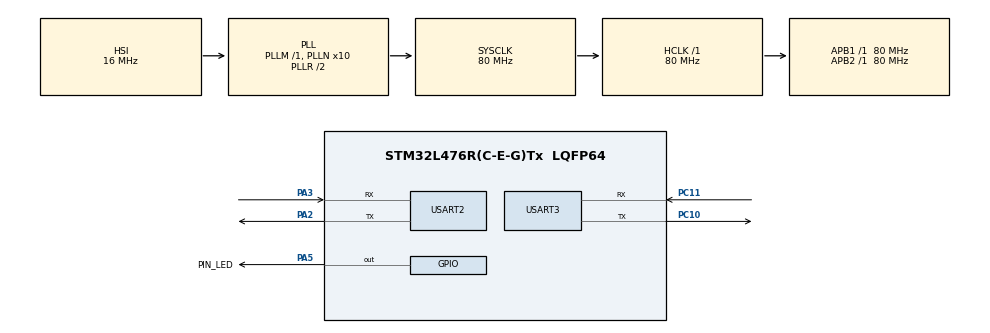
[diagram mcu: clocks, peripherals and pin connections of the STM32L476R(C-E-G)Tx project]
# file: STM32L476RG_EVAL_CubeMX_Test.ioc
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Mcu.Family=STM32L4
Mcu.Name=STM32L476R(C-E-G)Tx
Mcu.Package=LQFP64
NVIC.PriorityGroup=NVIC_PRIORITYGROUP_4
NVIC.USART3_IRQn=true\:11\:0\:true\:false\:true\:true\:true\:true
PA13\ (JTMS-SWDIO).Mode=Serial_Wire
PA13\ (JTMS-SWDIO).Signal=SYS_JTMS-SWDIO
PA14\ (JTCK-SWCLK).Mode=Serial_Wire
PA14\ (JTCK-SWCLK).Signal=SYS_JTCK-SWCLK
PA2.Mode=Asynchronous
PA2.Signal=USART2_TX
PA3.Mode=Asynchronous
PA3.Signal=USART2_RX
PA5.GPIO_Label=PIN_LED
PA5.Signal=GPIO_Output
PC10.GPIO_PuPd=GPIO_NOPULL
PC10.GPIO_Speed=GPIO_SPEED_FREQ_MEDIUM
PC10.Mode=Asynchronous
PC10.Signal=USART3_TX
PC11.GPIO_PuPd=GPIO_PULLUP
PC11.GPIO_Speed=GPIO_SPEED_FREQ_MEDIUM
PC11.Mode=Asynchronous
PC11.Signal=USART3_RX
ProjectManager.HeapSize=0x200
ProjectManager.StackSize=0x400
ProjectManager.TargetToolchain=Makefile
RCC.ADCFreq_Value=64000000
RCC.AHBFreq_Value=80000000
RCC.APB1Freq_Value=80000000
RCC.APB1TimFreq_Value=80000000
RCC.APB2Freq_Value=80000000
RCC.APB2TimFreq_Value=80000000
RCC.CortexFreq_Value=80000000
RCC.HCLKFreq_Value=80000000
RCC.HSE_VALUE=8000000
RCC.HSI_VALUE=16000000
RCC.LSE_VALUE=32768
RCC.MSI_VALUE=4000000
RCC.PLLN=10
RCC.PLLSourceVirtual=RCC_PLLSOURCE_HSI
RCC.SYSCLKFreq_VALUE=80000000
RCC.SYSCLKSource=RCC_SYSCLKSOURCE_PLLCLK
RCC.USBFreq_Value=64000000
RCC.VCOOutputFreq_Value=160000000
USART2.VirtualMode-Asynchronous=VM_ASYNC
USART3.VirtualMode-Asynchronous=VM_ASYNC
board=custom

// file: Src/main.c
/* USER CODE BEGIN Header */
/**
 ******************************************************************************
 * @file           : main.c
 * @brief          : Main program body
 ******************************************************************************
 * @attention
 *
 * Copyright (c) 2024 STMicroelectronics.
 * All rights reserved.
 *
 * This software is licensed under terms that can be found in the LICENSE file
 * in the root directory of this software component.
 * If no LICENSE file comes with this software, it is provided AS-IS.
 *
 ******************************************************************************
 */
/* USER CODE END Header */
#include "main.h"

/* USER CODE BEGIN Includes */
#include "shell.h"
#include "ring_buffer.h"

/* USER CODE END Includes */

UART_HandleTypeDef huart2;
UART_HandleTypeDef huart3;

/* USER CODE BEGIN PV */

// Temp buffer of size [1] for sending data using the HAL UART
volatile uint8_t g_uart3RxChar = '\0';

/* USER CODE END PV */

void SystemClock_Config(void);
static void MX_GPIO_Init(void);
static void MX_USART2_UART_Init(void);
static void MX_USART3_UART_Init(void);
/* USER CODE BEGIN PFP */

// Custom funcitons for uart3 shell terminal
int uart3_send_char(char c);
int uart3_transmit_ready(void);

/* USER CODE END PFP */

int main(void)
{

    /* MCU Configuration--------------------------------------------------------*/

    /* Reset of all peripherals, Initializes the Flash interface and the Systick. */
    HAL_Init();

    /* Configure the system clock */
    SystemClock_Config();

    /* Initialize all configured peripherals */
    MX_GPIO_Init();
    MX_USART2_UART_Init();
    MX_USART3_UART_Init();
    /* USER CODE BEGIN 2 */

    // Define the shell hardware/platform specific implimentation
    shellImpl_t shell_impl;
    shell_impl.send_char = uart3_send_char;
    shell_impl.is_tx_hardware_ready = uart3_transmit_ready;
    shell_init(&shell_impl);

    // Enable USART3 Rx interrupt
    HAL_UART_Receive_IT(&huart3, &g_uart3RxChar, 1);

    /* USER CODE END 2 */

    /* Infinite loop */
    while (1)
    {
        tasks();
    }
}

void SystemClock_Config(void)
{
    RCC_OscInitTypeDef RCC_OscInitStruct = {0};
    RCC_ClkInitTypeDef RCC_ClkInitStruct = {0};

    /** Configure the main internal regulator output voltage
     */
    if (HAL_PWREx_ControlVoltageScaling(PWR_REGULATOR_VOLTAGE_SCALE1) != HAL_OK)
    {
        Error_Handler();
    }

    /** Initializes the RCC Oscillators according to the specified parameters
     * in the RCC_OscInitTypeDef structure.
     */
    RCC_OscInitStruct.OscillatorType = RCC_OSCILLATORTYPE_HSI;
    RCC_OscInitStruct.HSIState = RCC_HSI_ON;
    RCC_OscInitStruct.HSICalibrationValue = RCC_HSICALIBRATION_DEFAULT;
    RCC_OscInitStruct.PLL.PLLState = RCC_PLL_ON;
    RCC_OscInitStruct.PLL.PLLSource = RCC_PLLSOURCE_HSI;
    RCC_OscInitStruct.PLL.PLLM = 1;
    RCC_OscInitStruct.PLL.PLLN = 10;
    RCC_OscInitStruct.PLL.PLLP = RCC_PLLP_DIV7;
    RCC_OscInitStruct.PLL.PLLQ = RCC_PLLQ_DIV2;
    RCC_OscInitStruct.PLL.PLLR = RCC_PLLR_DIV2;
    if (HAL_RCC_OscConfig(&RCC_OscInitStruct) != HAL_OK)
    {
        Error_Handler();
    }

    /** Initializes the CPU, AHB and APB buses clocks
     */
    RCC_ClkInitStruct.ClockType = RCC_CLOCKTYPE_HCLK | RCC_CLOCKTYPE_SYSCLK | RCC_CLOCKTYPE_PCLK1 | RCC_CLOCKTYPE_PCLK2;
    RCC_ClkInitStruct.SYSCLKSource = RCC_SYSCLKSOURCE_PLLCLK;
    RCC_ClkInitStruct.AHBCLKDivider = RCC_SYSCLK_DIV1;
    RCC_ClkInitStruct.APB1CLKDivider = RCC_HCLK_DIV1;
    RCC_ClkInitStruct.APB2CLKDivider = RCC_HCLK_DIV1;

    if (HAL_RCC_ClockConfig(&RCC_ClkInitStruct, FLASH_LATENCY_4) != HAL_OK)
    {
        Error_Handler();
    }
}

static void MX_USART2_UART_Init(void)
{

    huart2.Instance = USART2;
    huart2.Init.BaudRate = 115200;
    huart2.Init.WordLength = UART_WORDLENGTH_8B;
    huart2.Init.StopBits = UART_STOPBITS_1;
    huart2.Init.Parity = UART_PARITY_NONE;
    huart2.Init.Mode = UART_MODE_TX_RX;
    huart2.Init.HwFlowCtl = UART_HWCONTROL_NONE;
    huart2.Init.OverSampling = UART_OVERSAMPLING_16;
    huart2.Init.OneBitSampling = UART_ONE_BIT_SAMPLE_DISABLE;
    huart2.AdvancedInit.AdvFeatureInit = UART_ADVFEATURE_NO_INIT;
    if (HAL_UART_Init(&huart2) != HAL_OK)
    {
        Error_Handler();
    }
}

static void MX_USART3_UART_Init(void)
{

    huart3.Instance = USART3;
    huart3.Init.BaudRate = 115200;
    huart3.Init.WordLength = UART_WORDLENGTH_8B;
    huart3.Init.StopBits = UART_STOPBITS_1;
    huart3.Init.Parity = UART_PARITY_NONE;
    huart3.Init.Mode = UART_MODE_TX_RX;
    huart3.Init.HwFlowCtl = UART_HWCONTROL_NONE;
    huart3.Init.OverSampling = UART_OVERSAMPLING_16;
    huart3.Init.OneBitSampling = UART_ONE_BIT_SAMPLE_DISABLE;
    huart3.AdvancedInit.AdvFeatureInit = UART_ADVFEATURE_NO_INIT;
    if (HAL_UART_Init(&huart3) != HAL_OK)
    {
        Error_Handler();
    }
}

static void MX_GPIO_Init(void)
{
    GPIO_InitTypeDef GPIO_InitStruct = {0};

    /* GPIO Ports Clock Enable */
    __HAL_RCC_GPIOA_CLK_ENABLE();
    __HAL_RCC_GPIOC_CLK_ENABLE();

    /*Configure GPIO pin Output Level */
    HAL_GPIO_WritePin(PIN_LED_GPIO_Port, PIN_LED_Pin, GPIO_PIN_RESET);

    /*Configure GPIO pin : PIN_LED_Pin */
    GPIO_InitStruct.Pin = PIN_LED_Pin;
    GPIO_InitStruct.Mode = GPIO_MODE_OUTPUT_PP;
    GPIO_InitStruct.Pull = GPIO_NOPULL;
    GPIO_InitStruct.Speed = GPIO_SPEED_FREQ_LOW;
    HAL_GPIO_Init(PIN_LED_GPIO_Port, &GPIO_InitStruct);

}

/* USER CODE BEGIN 4 */

// Quick POC for shell. Replace with custom uart transmit interrupt call
int uart3_send_char(char c)
{
    static uint8_t data;
    data = (uint8_t)c;
    HAL_StatusTypeDef rslt;
    // rslt = HAL_UART_Transmit(&huart3, &c, 1, 100);
    rslt = HAL_UART_Transmit_IT(&huart3, &data, 1);

    return (int)rslt;
}

// Quick POC for shell to check Tx hardware is ready
int uart3_transmit_ready(void)
{
    return (huart3.gState == HAL_UART_STATE_READY);
}

/* USER CODE END 4 */

void Error_Handler(void)
{
    __disable_irq();
    while (1)
    {
    }
}
